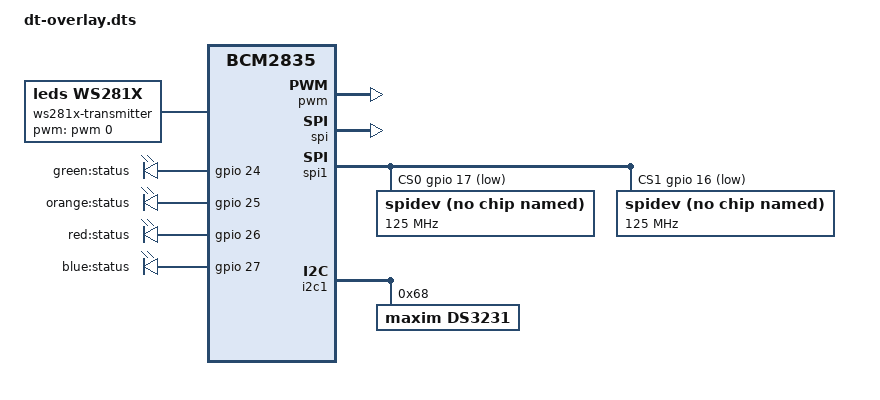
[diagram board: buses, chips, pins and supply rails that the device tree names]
/dts-v1/;
/plugin/;

/ {
    compatible = "brcm,bcm2835";

/* WS281x PWM */
    fragment@100 {
        target = <&gpio>;
        __overlay__ {
            pwm_pins: pwm_pins {
                brcm,pins = <12 13>;
                brcm,function = <4 4>; /* Alt0 */
            };
        };
    };

    fragment@101 {
        target = <&pwm>;
        __overlay__ {
            pinctrl-names = "default";
            pinctrl-0 = <&pwm_pins>;
            assigned-clock-rates = <100000000>;
            status = "okay";
        };
    };

    fragment@102 {
        target-path = "/";
        __overlay__ {
            ws281x-transmitter {
                compatible = "leds,ws281x";
                pwms = <&pwm 0 100>;
            };
        };
    };

/* SPI 0 */
    fragment@110 {
        target = <&spi>;
        __overlay__ {
            status = "okay";
        };
    };

/* SPI 1 */
    fragment@120 {
        target = <&gpio>;
        __overlay__ {
            spi1_pins: spi1_pins_ws281x {
                brcm,pins = <20>;
                brcm,function = <3>; /* Alt4 */
            };
            spi1_cs_pins: spi1_cs_pins_ws281x {
                brcm,pins = <16 17>;
                brcm,function = <1>; /* Output */
            };
        };
    };

    fragment@121 {
        target = <&spi1>;
        __overlay__ {
            /* needed to avoid dtc warning */
            #address-cells = <1>;
            #size-cells = <0>;
            pinctrl-names = "default";
            pinctrl-0 = <&spi1_pins &spi1_cs_pins>;
            cs-gpios = <&gpio 17 1>, <&gpio 16 1>;
            status = "okay";

            spidev@0{
                compatible = "spidev";
                reg = <0>;    /* CE0 */
                #address-cells = <1>;
                #size-cells = <0>;
                spi-max-frequency = <125000000>;
                status = "okay";
            };

            spidev@1{
                compatible = "spidev";
                reg = <1>;    /* CE1 */
                #address-cells = <1>;
                #size-cells = <0>;
                spi-max-frequency = <125000000>;
                status = "okay";
            };
        };
    };

/* I2C */
    fragment@130 {
        target = <&i2c1>;
        __overlay__ {
            status = "okay";
        };
    };

/* I2C RTC */
    fragment@200 {
        target = <&i2c1>;
        __overlay__ {
            #address-cells = <1>;
            #size-cells = <0>;
            ds3231@68 {
                compatible = "maxim,ds3231";
                reg = <0x68>;
            };
        };
    };

/* LEDs */
    fragment@300 {
        target-path = "/leds/led-act";
        __overlay__ {
            linux,default-trigger = "none";
        };
    };

    fragment@301 {
        target = <&leds>;
        __overlay__ {
            led-status-green {
                label = "green:status";
                gpios = <&gpio 24 0>;
                linux,default-trigger = "actpwr";
            };
            led-status-orange {
                label = "orange:status";
                gpios = <&gpio 25 0>;
            };
            led-status-red {
                label = "red:status";
                gpios = <&gpio 26 0>;
                linux,default-trigger = "mmc0";
            };
            led-status-blue {
                label = "blue:status";
                gpios = <&gpio 27 0>;
                linux,default-trigger = "mmc1";
            };
        };
    };
};
